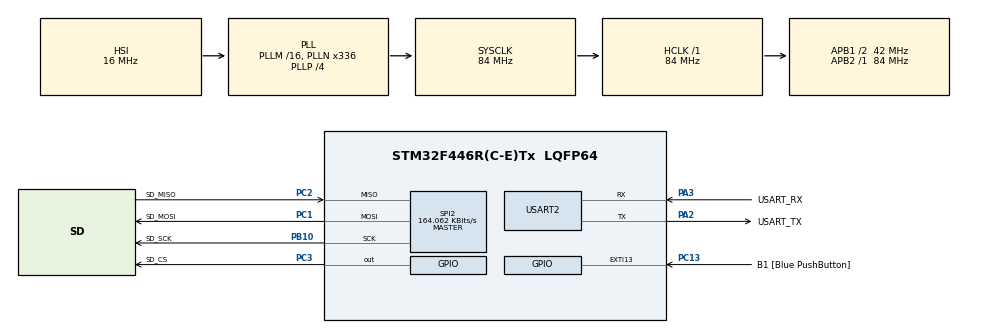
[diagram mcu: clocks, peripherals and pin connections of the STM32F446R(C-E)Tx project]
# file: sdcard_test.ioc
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Dma.Request0=SPI2_RX
Dma.Request1=SPI2_TX
Dma.SPI2_RX.0.Direction=DMA_PERIPH_TO_MEMORY
Dma.SPI2_RX.0.FIFOMode=DMA_FIFOMODE_DISABLE
Dma.SPI2_RX.0.Instance=DMA1_Stream3
Dma.SPI2_RX.0.MemDataAlignment=DMA_MDATAALIGN_BYTE
Dma.SPI2_RX.0.MemInc=DMA_MINC_ENABLE
Dma.SPI2_RX.0.Mode=DMA_NORMAL
Dma.SPI2_RX.0.PeriphDataAlignment=DMA_PDATAALIGN_BYTE
Dma.SPI2_RX.0.PeriphInc=DMA_PINC_DISABLE
Dma.SPI2_RX.0.Priority=DMA_PRIORITY_LOW
Dma.SPI2_TX.1.Direction=DMA_MEMORY_TO_PERIPH
Dma.SPI2_TX.1.FIFOMode=DMA_FIFOMODE_DISABLE
Dma.SPI2_TX.1.Instance=DMA1_Stream4
Dma.SPI2_TX.1.MemDataAlignment=DMA_MDATAALIGN_BYTE
Dma.SPI2_TX.1.MemInc=DMA_MINC_ENABLE
Dma.SPI2_TX.1.Mode=DMA_NORMAL
Dma.SPI2_TX.1.PeriphDataAlignment=DMA_PDATAALIGN_BYTE
Dma.SPI2_TX.1.PeriphInc=DMA_PINC_DISABLE
Dma.SPI2_TX.1.Priority=DMA_PRIORITY_LOW
FATFS._USE_LABEL=1
FATFS._USE_LFN=3
Mcu.Family=STM32F4
Mcu.Name=STM32F446R(C-E)Tx
Mcu.Package=LQFP64
NVIC.DMA1_Stream3_IRQn=true\:0\:0\:false\:false\:true\:false\:true\:true
NVIC.DMA1_Stream4_IRQn=true\:0\:0\:false\:false\:true\:false\:true\:true
NVIC.PriorityGroup=NVIC_PRIORITYGROUP_0
PA13.GPIO_Label=TMS
PA13.Mode=Serial_Wire
PA13.Signal=SYS_JTMS-SWDIO
PA14.GPIO_Label=TCK
PA14.Mode=Serial_Wire
PA14.Signal=SYS_JTCK-SWCLK
PA2.GPIO_Label=USART_TX
PA2.Mode=Asynchronous
PA2.Signal=USART2_TX
PA3.GPIO_Label=USART_RX
PA3.Mode=Asynchronous
PA3.Signal=USART2_RX
PB10.GPIO_Label=SD_SCK
PB10.Mode=Full_Duplex_Master
PB10.Signal=SPI2_SCK
PB3.GPIO_Label=SWO
PB3.Signal=SYS_JTDO-SWO
PC1.GPIO_Label=SD_MOSI
PC1.Mode=Full_Duplex_Master
PC1.Signal=SPI2_MOSI
PC13.GPIO_Label=B1 [Blue PushButton]
PC13.GPIO_ModeDefaultEXTI=GPIO_MODE_IT_FALLING
PC13.Signal=GPXTI13
PC14-OSC32_IN.Mode=LSE-External-Oscillator
PC14-OSC32_IN.Signal=RCC_OSC32_IN
PC15-OSC32_OUT.Mode=LSE-External-Oscillator
PC15-OSC32_OUT.Signal=RCC_OSC32_OUT
PC2.GPIO_Label=SD_MISO
PC2.Mode=Full_Duplex_Master
PC2.Signal=SPI2_MISO
PC3.GPIO_Label=SD_CS
PC3.GPIO_Speed=GPIO_SPEED_FREQ_HIGH
PC3.PinState=GPIO_PIN_SET
PC3.Signal=GPIO_Output
PH0-OSC_IN.Mode=HSE-External-Oscillator
PH0-OSC_IN.Signal=RCC_OSC_IN
PH1-OSC_OUT.Mode=HSE-External-Oscillator
PH1-OSC_OUT.Signal=RCC_OSC_OUT
ProjectManager.HeapSize=0x200
ProjectManager.StackSize=0x400
ProjectManager.TargetToolchain=CMake
RCC.48MHZClocksFreq_Value=84000000
RCC.AHBFreq_Value=84000000
RCC.APB1CLKDivider=RCC_HCLK_DIV2
RCC.APB1Freq_Value=42000000
RCC.APB1TimFreq_Value=84000000
RCC.APB2Freq_Value=84000000
RCC.APB2TimFreq_Value=84000000
RCC.CortexFreq_Value=84000000
RCC.FLatency-AdvancedSettings=FLASH_LATENCY_2
RCC.HCLKFreq_Value=84000000
RCC.HSE_VALUE=8000000
RCC.HSI_VALUE=16000000
RCC.PLLN=336
RCC.PLLP=RCC_PLLP_DIV4
RCC.SYSCLKFreq_VALUE=84000000
RCC.SYSCLKSource=RCC_SYSCLKSOURCE_PLLCLK
RCC.USBFreq_Value=168000000
RCC.VCOOutputFreq_Value=336000000
SPI2.BaudRatePrescaler=SPI_BAUDRATEPRESCALER_256
SPI2.CalculateBaudRate=164.062 KBits/s
SPI2.Direction=SPI_DIRECTION_2LINES
SPI2.Mode=SPI_MODE_MASTER
SPI2.VirtualType=VM_MASTER
USART2.VirtualMode=VM_ASYNC
VP_FATFS_VS_Generic.Mode=User_defined
board=NUCLEO-F446RE

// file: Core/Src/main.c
/* USER CODE BEGIN Header */
/**
  ******************************************************************************
  * @file           : main.c
  * @brief          : Main program body
  ******************************************************************************
  * @attention
  *
  * Copyright (c) 2026 STMicroelectronics.
  * All rights reserved.
  *
  * This software is licensed under terms that can be found in the LICENSE file
  * in the root directory of this software component.
  * If no LICENSE file comes with this software, it is provided AS-IS.
  *
  ******************************************************************************
  */
/* USER CODE END Header */
#include "main.h"
#include "fatfs.h"

/* USER CODE BEGIN Includes */
#include <stdio.h>
#include "sd_functions.h"
#include "erb_format.h"
/* USER CODE END Includes */

SPI_HandleTypeDef hspi2;
DMA_HandleTypeDef hdma_spi2_rx;
DMA_HandleTypeDef hdma_spi2_tx;

UART_HandleTypeDef huart2;

/* USER CODE BEGIN PV */
/* .erb page buffers -- kept static (not on the stack): 48 KB each.
 * One framebuffer + one RLE scratch fits the F446RE's 128 KB SRAM. */
static uint8_t erb_fb[48000];
static uint8_t erb_scratch[48000];
/* USER CODE END PV */

void SystemClock_Config(void);
static void MX_GPIO_Init(void);
static void MX_DMA_Init(void);
static void MX_USART2_UART_Init(void);
static void MX_SPI2_Init(void);

int main(void)
{

  /* MCU Configuration--------------------------------------------------------*/

  /* Reset of all peripherals, Initializes the Flash interface and the Systick. */
  HAL_Init();

  /* Configure the system clock */
  SystemClock_Config();

  /* Initialize all configured peripherals */
  MX_GPIO_Init();
  MX_DMA_Init();
  MX_USART2_UART_Init();
  MX_SPI2_Init();
  /* USER CODE BEGIN 2 */
  printf("\r\n=== SD card test ===\r\n");
  if (sd_mount() == FR_OK)
  {
    printf("SD card is WORKING!\r\n");

    /* Quick write + read-back sanity check */
    if (sd_write_file("test.txt", "Testing filler text\r\n") == FR_OK)
    {
      char buf[64];
      UINT n;
      if (sd_read_file("test.txt", buf, sizeof(buf), &n) == FR_OK)
        printf("Read back: %s", buf);
    }

    sd_list_files();

    /* ---- .erb read test ------------------------------------------------
     * Open a book, dump its header/metadata/TOC, decode one page and print
     * an ASCII thumbnail. Swap erb_print_ascii() for erb_rotate_1bpp() +
     * the EPD driver later; the decoded framebuffer is already panel-ready. */
    erb_file_t book;
    int rc = erb_open(&book, "ORV.erb");
    if (rc == 0)
    {
      erb_print_header(&book);

      char title[64], author[64], lang[64];
      if (erb_read_metadata(&book, title, author, lang, sizeof(title)) == 0)
        printf("Title : %s\r\nAuthor: %s\r\nLang  : %s\r\n", title, author, lang);

      erb_print_toc(&book, 8);

      uint32_t page = 100;
      rc = erb_render_page_n(&book, page, erb_fb, erb_scratch, sizeof(erb_scratch));
      if (rc == 0)
      {
        printf("\r\n--- page %lu (%ux%u, 1/8 scale) ---\r\n",
               (unsigned long)page, book.hdr.width, book.hdr.height);
        erb_print_ascii(erb_fb, book.hdr.width, book.hdr.height, 8, 16);
      }
      else
        printf("erb_render_page_n(%lu) failed: %d\r\n", (unsigned long)page, rc);

      erb_close(&book);
    }
    else
    {
      printf("erb_open(ORV.erb) failed: %d (copy the .erb to the SD root)\r\n", rc);
    }

    sd_unmount();
  }
  else
  {
    printf("SD card init/mount FAILED\r\n");
  }
  /* USER CODE END 2 */

  /* Infinite loop */
  while (1)
  {

  }
}

void SystemClock_Config(void)
{
  RCC_OscInitTypeDef RCC_OscInitStruct = {0};
  RCC_ClkInitTypeDef RCC_ClkInitStruct = {0};

  /** Configure the main internal regulator output voltage
  */
  __HAL_RCC_PWR_CLK_ENABLE();
  __HAL_PWR_VOLTAGESCALING_CONFIG(PWR_REGULATOR_VOLTAGE_SCALE3);

  /** Initializes the RCC Oscillators according to the specified parameters
  * in the RCC_OscInitTypeDef structure.
  */
  RCC_OscInitStruct.OscillatorType = RCC_OSCILLATORTYPE_HSI;
  RCC_OscInitStruct.HSIState = RCC_HSI_ON;
  RCC_OscInitStruct.HSICalibrationValue = RCC_HSICALIBRATION_DEFAULT;
  RCC_OscInitStruct.PLL.PLLState = RCC_PLL_ON;
  RCC_OscInitStruct.PLL.PLLSource = RCC_PLLSOURCE_HSI;
  RCC_OscInitStruct.PLL.PLLM = 16;
  RCC_OscInitStruct.PLL.PLLN = 336;
  RCC_OscInitStruct.PLL.PLLP = RCC_PLLP_DIV4;
  RCC_OscInitStruct.PLL.PLLQ = 2;
  RCC_OscInitStruct.PLL.PLLR = 2;
  if (HAL_RCC_OscConfig(&RCC_OscInitStruct) != HAL_OK)
  {
    Error_Handler();
  }

  /** Initializes the CPU, AHB and APB buses clocks
  */
  RCC_ClkInitStruct.ClockType = RCC_CLOCKTYPE_HCLK|RCC_CLOCKTYPE_SYSCLK
                              |RCC_CLOCKTYPE_PCLK1|RCC_CLOCKTYPE_PCLK2;
  RCC_ClkInitStruct.SYSCLKSource = RCC_SYSCLKSOURCE_PLLCLK;
  RCC_ClkInitStruct.AHBCLKDivider = RCC_SYSCLK_DIV1;
  RCC_ClkInitStruct.APB1CLKDivider = RCC_HCLK_DIV2;
  RCC_ClkInitStruct.APB2CLKDivider = RCC_HCLK_DIV1;

  if (HAL_RCC_ClockConfig(&RCC_ClkInitStruct, FLASH_LATENCY_2) != HAL_OK)
  {
    Error_Handler();
  }
}

static void MX_SPI2_Init(void)
{

  /* SPI2 parameter configuration*/
  hspi2.Instance = SPI2;
  hspi2.Init.Mode = SPI_MODE_MASTER;
  hspi2.Init.Direction = SPI_DIRECTION_2LINES;
  hspi2.Init.DataSize = SPI_DATASIZE_8BIT;
  hspi2.Init.CLKPolarity = SPI_POLARITY_LOW;
  hspi2.Init.CLKPhase = SPI_PHASE_1EDGE;
  hspi2.Init.NSS = SPI_NSS_SOFT;
  hspi2.Init.BaudRatePrescaler = SPI_BAUDRATEPRESCALER_256;
  hspi2.Init.FirstBit = SPI_FIRSTBIT_MSB;
  hspi2.Init.TIMode = SPI_TIMODE_DISABLE;
  hspi2.Init.CRCCalculation = SPI_CRCCALCULATION_DISABLE;
  hspi2.Init.CRCPolynomial = 10;
  if (HAL_SPI_Init(&hspi2) != HAL_OK)
  {
    Error_Handler();
  }

}

static void MX_USART2_UART_Init(void)
{

  huart2.Instance = USART2;
  huart2.Init.BaudRate = 115200;
  huart2.Init.WordLength = UART_WORDLENGTH_8B;
  huart2.Init.StopBits = UART_STOPBITS_1;
  huart2.Init.Parity = UART_PARITY_NONE;
  huart2.Init.Mode = UART_MODE_TX_RX;
  huart2.Init.HwFlowCtl = UART_HWCONTROL_NONE;
  huart2.Init.OverSampling = UART_OVERSAMPLING_16;
  if (HAL_UART_Init(&huart2) != HAL_OK)
  {
    Error_Handler();
  }

}

static void MX_DMA_Init(void)
{

  /* DMA controller clock enable */
  __HAL_RCC_DMA1_CLK_ENABLE();

  /* DMA interrupt init */
  /* DMA1_Stream3_IRQn interrupt configuration */
  HAL_NVIC_SetPriority(DMA1_Stream3_IRQn, 0, 0);
  HAL_NVIC_EnableIRQ(DMA1_Stream3_IRQn);
  /* DMA1_Stream4_IRQn interrupt configuration */
  HAL_NVIC_SetPriority(DMA1_Stream4_IRQn, 0, 0);
  HAL_NVIC_EnableIRQ(DMA1_Stream4_IRQn);

}

static void MX_GPIO_Init(void)
{
  GPIO_InitTypeDef GPIO_InitStruct = {0};

  /* GPIO Ports Clock Enable */
  __HAL_RCC_GPIOC_CLK_ENABLE();
  __HAL_RCC_GPIOH_CLK_ENABLE();
  __HAL_RCC_GPIOA_CLK_ENABLE();
  __HAL_RCC_GPIOB_CLK_ENABLE();

  /*Configure GPIO pin Output Level */
  HAL_GPIO_WritePin(SD_CS_GPIO_Port, SD_CS_Pin, GPIO_PIN_SET);

  /*Configure GPIO pin : B1_Pin */
  GPIO_InitStruct.Pin = B1_Pin;
  GPIO_InitStruct.Mode = GPIO_MODE_IT_FALLING;
  GPIO_InitStruct.Pull = GPIO_NOPULL;
  HAL_GPIO_Init(B1_GPIO_Port, &GPIO_InitStruct);

  /*Configure GPIO pin : SD_CS_Pin */
  GPIO_InitStruct.Pin = SD_CS_Pin;
  GPIO_InitStruct.Mode = GPIO_MODE_OUTPUT_PP;
  GPIO_InitStruct.Pull = GPIO_NOPULL;
  GPIO_InitStruct.Speed = GPIO_SPEED_FREQ_HIGH;
  HAL_GPIO_Init(SD_CS_GPIO_Port, &GPIO_InitStruct);

}

/* USER CODE BEGIN 4 */
/* Retarget printf() to USART2 so output shows on the serial terminal */
int __io_putchar(int ch)
{
  HAL_UART_Transmit(&huart2, (uint8_t *)&ch, 1, HAL_MAX_DELAY);
  return ch;
}
/* USER CODE END 4 */

void Error_Handler(void)
{
  __disable_irq();
  while (1)
  {
  }
}
